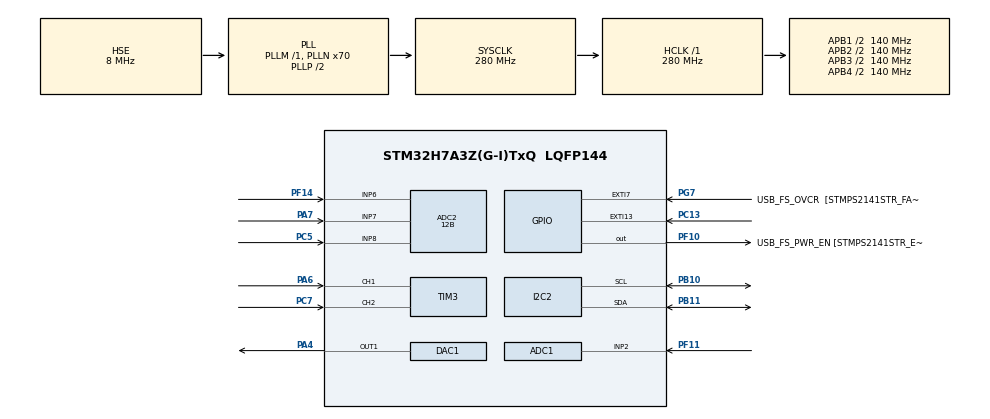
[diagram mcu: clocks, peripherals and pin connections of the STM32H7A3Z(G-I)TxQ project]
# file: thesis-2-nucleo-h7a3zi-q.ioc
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ADC1.Channel-1\#ChannelRegularConversion=ADC_CHANNEL_2
ADC1.ConversionDataManagement=ADC_CONVERSIONDATA_DMA_CIRCULAR
ADC1.ExternalTrigConv=ADC_EXTERNALTRIG_T6_TRGO
ADC1.NbrOfConversionFlag=1
ADC1.OffsetNumber-1\#ChannelRegularConversion=ADC_OFFSET_NONE
ADC1.OffsetSignedSaturation-1\#ChannelRegularConversion=DISABLE
ADC1.Rank-1\#ChannelRegularConversion=1
ADC1.Resolution=ADC_RESOLUTION_12B
ADC1.SamplingTime-1\#ChannelRegularConversion=ADC_SAMPLETIME_1CYCLE_5
ADC1.master=1
ADC2.Channel-0\#ChannelRegularConversion=ADC_CHANNEL_6
ADC2.Channel-1\#ChannelRegularConversion=ADC_CHANNEL_7
ADC2.Channel-2\#ChannelRegularConversion=ADC_CHANNEL_8
ADC2.ContinuousConvMode=DISABLE
ADC2.ConversionDataManagement=ADC_CONVERSIONDATA_DMA_CIRCULAR
ADC2.ExternalTrigConv=ADC_EXTERNALTRIG_T1_TRGO
ADC2.NbrOfConversion=3
ADC2.NbrOfConversionFlag=1
ADC2.OffsetNumber-0\#ChannelRegularConversion=ADC_OFFSET_NONE
ADC2.OffsetNumber-1\#ChannelRegularConversion=ADC_OFFSET_NONE
ADC2.OffsetNumber-2\#ChannelRegularConversion=ADC_OFFSET_NONE
ADC2.OffsetSignedSaturation-0\#ChannelRegularConversion=DISABLE
ADC2.Rank-0\#ChannelRegularConversion=1
ADC2.Rank-1\#ChannelRegularConversion=2
ADC2.Rank-2\#ChannelRegularConversion=3
ADC2.Resolution=ADC_RESOLUTION_12B
ADC2.SamplingTime-0\#ChannelRegularConversion=ADC_SAMPLETIME_1CYCLE_5
ADC2.SamplingTime-1\#ChannelRegularConversion=ADC_SAMPLETIME_1CYCLE_5
ADC2.SamplingTime-2\#ChannelRegularConversion=ADC_SAMPLETIME_1CYCLE_5
DAC1.DAC_Channel-DAC_OUT1=DAC_CHANNEL_1
DAC1.DAC_Trigger-DAC_OUT1=DAC_TRIGGER_T6_TRGO
Dma.ADC1.0.Direction=DMA_PERIPH_TO_MEMORY
Dma.ADC1.0.EventEnable=DISABLE
Dma.ADC1.0.FIFOMode=DMA_FIFOMODE_DISABLE
Dma.ADC1.0.Instance=DMA1_Stream0
Dma.ADC1.0.MemDataAlignment=DMA_MDATAALIGN_HALFWORD
Dma.ADC1.0.MemInc=DMA_MINC_ENABLE
Dma.ADC1.0.Mode=DMA_CIRCULAR
Dma.ADC1.0.PeriphDataAlignment=DMA_PDATAALIGN_HALFWORD
Dma.ADC1.0.PeriphInc=DMA_PINC_DISABLE
Dma.ADC1.0.Polarity=HAL_DMAMUX_REQ_GEN_RISING
Dma.ADC1.0.Priority=DMA_PRIORITY_HIGH
Dma.ADC1.0.RequestNumber=1
Dma.ADC1.0.SignalID=NONE
Dma.ADC1.0.SyncEnable=DISABLE
Dma.ADC1.0.SyncPolarity=HAL_DMAMUX_SYNC_NO_EVENT
Dma.ADC1.0.SyncRequestNumber=1
Dma.ADC1.0.SyncSignalID=NONE
Dma.ADC2.2.Direction=DMA_PERIPH_TO_MEMORY
Dma.ADC2.2.EventEnable=DISABLE
Dma.ADC2.2.FIFOMode=DMA_FIFOMODE_DISABLE
Dma.ADC2.2.Instance=DMA1_Stream2
Dma.ADC2.2.MemDataAlignment=DMA_MDATAALIGN_HALFWORD
Dma.ADC2.2.MemInc=DMA_MINC_ENABLE
Dma.ADC2.2.Mode=DMA_CIRCULAR
Dma.ADC2.2.PeriphDataAlignment=DMA_PDATAALIGN_HALFWORD
Dma.ADC2.2.PeriphInc=DMA_PINC_DISABLE
Dma.ADC2.2.Polarity=HAL_DMAMUX_REQ_GEN_RISING
Dma.ADC2.2.Priority=DMA_PRIORITY_LOW
Dma.ADC2.2.RequestNumber=1
Dma.ADC2.2.SignalID=NONE
Dma.ADC2.2.SyncEnable=DISABLE
Dma.ADC2.2.SyncPolarity=HAL_DMAMUX_SYNC_NO_EVENT
Dma.ADC2.2.SyncRequestNumber=1
Dma.ADC2.2.SyncSignalID=NONE
Dma.DAC1_CH1.1.Direction=DMA_MEMORY_TO_PERIPH
Dma.DAC1_CH1.1.EventEnable=DISABLE
Dma.DAC1_CH1.1.FIFOMode=DMA_FIFOMODE_DISABLE
Dma.DAC1_CH1.1.Instance=DMA1_Stream1
Dma.DAC1_CH1.1.MemDataAlignment=DMA_MDATAALIGN_HALFWORD
Dma.DAC1_CH1.1.MemInc=DMA_MINC_ENABLE
Dma.DAC1_CH1.1.Mode=DMA_CIRCULAR
Dma.DAC1_CH1.1.PeriphDataAlignment=DMA_PDATAALIGN_HALFWORD
Dma.DAC1_CH1.1.PeriphInc=DMA_PINC_DISABLE
Dma.DAC1_CH1.1.Polarity=HAL_DMAMUX_REQ_GEN_RISING
Dma.DAC1_CH1.1.Priority=DMA_PRIORITY_HIGH
Dma.DAC1_CH1.1.RequestNumber=1
Dma.DAC1_CH1.1.SignalID=NONE
Dma.DAC1_CH1.1.SyncEnable=DISABLE
Dma.DAC1_CH1.1.SyncPolarity=HAL_DMAMUX_SYNC_NO_EVENT
Dma.DAC1_CH1.1.SyncRequestNumber=1
Dma.DAC1_CH1.1.SyncSignalID=NONE
Dma.Request0=ADC1
Dma.Request1=DAC1_CH1
Dma.Request2=ADC2
I2C2.Timing=0x20B0CCFF
Mcu.Family=STM32H7
Mcu.Name=STM32H7A3Z(G-I)TxQ
Mcu.Package=LQFP144
NVIC.DMA1_Stream0_IRQn=true\:0\:0\:false\:false\:true\:false\:true\:true
NVIC.DMA1_Stream1_IRQn=true\:0\:0\:false\:false\:true\:false\:true\:true
NVIC.DMA1_Stream2_IRQn=true\:0\:0\:false\:false\:true\:false\:true\:true
NVIC.EXTI15_10_IRQn=true\:0\:0\:false\:false\:true\:true\:true\:true
NVIC.PriorityGroup=NVIC_PRIORITYGROUP_4
NVIC.TIM4_IRQn=true\:0\:0\:false\:false\:true\:true\:true\:true
PA10.GPIO_Label=USB_FS_ID [ZX62RD-AB-5P8_ID]
PA10.Signal=USB_OTG_HS_ID
PA11.GPIO_Label=USB_FS_N [USBLC6-2SC6_IO_1]
PA11.Signal=USB_OTG_HS_DM
PA12.GPIO_Label=USB_FS_P [USBLC6-2SC6_IO_2]
PA12.Signal=USB_OTG_HS_DP
PA4.Signal=COMP_DAC11_group
PA6.Signal=S_TIM3_CH1
PA7.Signal=ADCx_INP7
PA9.GPIO_Label=USB_FS_VBUS  [ZX62RD-AB-5P8_VBUS]
PA9.Signal=USB_OTG_HS_VBUS
PB10.Mode=I2C
PB10.Signal=I2C2_SCL
PB11.Mode=I2C
PB11.Signal=I2C2_SDA
PC13.Signal=GPXTI13
PC14-OSC32_IN.GPIO_Label=OSC32_IN
PC14-OSC32_IN.Mode=LSE-External-Oscillator
PC14-OSC32_IN.Signal=RCC_OSC32_IN
PC15-OSC32_OUT.GPIO_Label=OSC32_OUT
PC15-OSC32_OUT.Mode=LSE-External-Oscillator
PC15-OSC32_OUT.Signal=RCC_OSC32_OUT
PC5.Signal=ADCx_INP8
PC7.Signal=S_TIM3_CH2
PD8.GPIO_Label=STLINK_RX
PD8.Signal=USART3_TX
PD9.GPIO_Label=STLINK_TX
PD9.Signal=USART3_RX
PF10.GPIO_Label=USB_FS_PWR_EN [STMPS2141STR_EN]
PF10.Signal=GPIO_Output
PF11.Mode=IN2-Single-Ended
PF11.Signal=ADC1_INP2
PF14.Mode=IN6-Single-Ended
PF14.Signal=ADC2_INP6
PG7.GPIO_Label=USB_FS_OVCR  [STMPS2141STR_FAULT]
PG7.Signal=GPXTI7
PH0-OSC_IN.GPIO_Label=PH0-MCU
PH0-OSC_IN.Mode=HSE-External-Clock-Source
PH0-OSC_IN.Signal=RCC_OSC_IN
PH1-OSC_OUT.GPIO_Label=PH1-MCU
PH1-OSC_OUT.Signal=RCC_OSC_OUT
ProjectManager.HeapSize=0x200
ProjectManager.StackSize=0x400
ProjectManager.TargetToolchain=STM32CubeIDE
RCC.ADCFreq_Value=128000000
RCC.APB1Freq_Value=140000000
RCC.APB2Freq_Value=140000000
RCC.APB3Freq_Value=140000000
RCC.APB4Freq_Value=140000000
RCC.CDPPRE=RCC_APB3_DIV2
RCC.CDPPRE1=RCC_APB1_DIV2
RCC.CDPPRE2=RCC_APB2_DIV2
RCC.CortexFreq_Value=280000000
RCC.DIVM1=1
RCC.DIVM2=1
RCC.DIVM3=1
RCC.DIVN1=70
RCC.DIVN2=16
RCC.DIVN3=24
RCC.DIVP2=1
RCC.DIVQ1=4
RCC.HCLKFreq_Value=280000000
RCC.HSE_VALUE=8000000
RCC.PLL2FRACN=0
RCC.PLLFRACN=0
RCC.PLLSourceVirtual=RCC_PLLSOURCE_HSE
RCC.PWR_Regulator_Voltage_Scale=PWR_REGULATOR_VOLTAGE_SCALE0
RCC.SRDPPRE=RCC_APB4_DIV2
RCC.SYSCLKFreq_VALUE=280000000
RCC.SYSCLKSource=RCC_SYSCLKSOURCE_PLLCLK
RCC.SupplySource=PWR_DIRECT_SMPS_SUPPLY
RCC.USBCLockSelection=RCC_USBCLKSOURCE_HSI48
RCC.USBFreq_Value=48000000
SH.ADCx_INP7.0=ADC2_INP7,IN7-Single-Ended
SH.ADCx_INP8.0=ADC2_INP8,IN8-Single-Ended
SH.COMP_DAC11_group.0=DAC1_OUT1,DAC_OUT1
SH.S_TIM3_CH1.0=TIM3_CH1,Encoder_Interface
SH.S_TIM3_CH2.0=TIM3_CH2,Encoder_Interface
TIM1.Period=2800-1
TIM1.Prescaler=1000-1
TIM1.TIM_MasterOutputTrigger=TIM_TRGO_UPDATE
TIM3.EncoderMode=TIM_ENCODERMODE_TI12
TIM3.IC1Polarity=TIM_ICPOLARITY_FALLING
TIM3.IC2Polarity=TIM_ICPOLARITY_FALLING
TIM4.Prescaler=2500
TIM6.Period=2916-1
TIM6.TIM_MasterOutputTrigger=TIM_TRGO_UPDATE
VP_TIM1_VS_ClockSourceINT.Mode=Internal
VP_TIM4_VS_ClockSourceINT.Mode=Internal
VP_TIM6_VS_ClockSourceINT.Mode=Enable_Timer
board=NUCLEO-H7A3ZI-Q

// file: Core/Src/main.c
/* USER CODE BEGIN Header */
/**
  ******************************************************************************
  * @file           : main.c
  * @brief          : Main program body
  ******************************************************************************
  * @attention
  *
  * Copyright (c) 2022 STMicroelectronics.
  * All rights reserved.
  *
  * This software is licensed under terms that can be found in the LICENSE file
  * in the root directory of this software component.
  * If no LICENSE file comes with this software, it is provided AS-IS.
  *
  ******************************************************************************
  */
/* USER CODE END Header */
#include "main.h"
#include "adc.h"
#include "dac.h"
#include "dma.h"
#include "i2c.h"
#include "tim.h"
#include "gpio.h"

/* USER CODE BEGIN Includes */
#include <stdlib.h>
#include "DelayEffect.h"
#include "TremoloEffect.h"
#include "ChorusEffect.h"
#include <math.h>
#include "i2c-lcd.h"

/* USER CODE END Includes */

/* USER CODE BEGIN PD */
// data that user works with
#define DATA_SIZE 256

// the size of the entire buffer for both adc and dac
#define BUFFER_SIZE 512
#define SAMPLE_RATE 96021
#define PI 3.14159265359
/* USER CODE END PD */

/* USER CODE BEGIN PV */

// create ADC and DAC buffer
uint16_t adcData[BUFFER_SIZE];
uint16_t dacData[BUFFER_SIZE];
uint16_t adc2Data[3];

// pointers to the half buffer which should be processed
static volatile uint16_t* inBuffPtr;
static volatile uint16_t* outBuffPtr;

// data ready flag

uint8_t dataReady = 0;
uint8_t effectReady = 1;

/* USER CODE END PV */

void SystemClock_Config(void);
void PeriphCommonClock_Config(void);

/* USER CODE BEGIN 0 */

// when we enter this function, first half of the buffer is complete
// so we set the input buffer pointer at the beginning
void HAL_ADC_ConvHalfCpltCallback(ADC_HandleTypeDef *hadc)
{
	if(hadc == &hadc1) {
		inBuffPtr = &adcData[0];
		outBuffPtr = &dacData[0];

		dataReady = 1;
	}

}

// when we enter this function, first the second half of the buffer is complete
// so we set the input buffer pointer at the beginning
void HAL_ADC_ConvCpltCallback(ADC_HandleTypeDef *hadc)
{
	if(hadc == &hadc1) {
		inBuffPtr = &adcData[DATA_SIZE];
		outBuffPtr = &dacData[DATA_SIZE];

		dataReady = 1;
	}

}

enum Effect { CleanEf, DelayEf, SineEf, SquareEf, TriangleEf, ChorusEf };
uint8_t currentEffect =  CleanEf;
enum Direction { Left, Right };

const float INT16_TO_FLOAT = 1.0f / 32768.0f;

uint8_t Is_Tremolo() {
	return currentEffect == SineEf || currentEffect == SquareEf || currentEffect == TriangleEf;
}

void Init_Tremolo_Waveform() {
	if(currentEffect == SineEf) Tremolo_Set_Waveform(Sine);
	else if(currentEffect == SquareEf) Tremolo_Set_Waveform(Square);
	else if(currentEffect == TriangleEf) Tremolo_Set_Waveform(Triangle);
}

void processData()
{
	if(effectReady == 0) {
		return;
		HAL_Delay(100);
	}

	float volume = adc2Data[0]/4095.0f;
	float knob1 = adc2Data[1]/4095.0f;
	float knob2 = adc2Data[2]/4095.0f;

	if(currentEffect == CleanEf) {
		for(int i = 0; i < DATA_SIZE; i++) {
			 outBuffPtr[i] = (uint16_t) (volume * inBuffPtr[i]);
		}
	}
	else if(currentEffect == DelayEf) {
		Delay_Set_Params(knob1, knob2);
		for(int i = 0; i < DATA_SIZE; i++) {
			 outBuffPtr[i] = (uint16_t) (volume * Delay_Process(inBuffPtr[i]));
		}
	} else if(Is_Tremolo()) {
		Init_Tremolo_Waveform();

		static float in, out;
		for(int i = 0; i < DATA_SIZE; i++) {
			in = INT16_TO_FLOAT * inBuffPtr[i];
			out = Tremolo_Process(in, knob1, knob2) * 1.4f;
			outBuffPtr[i] =  (uint16_t) (volume * out * 32768.0f);
		}
	} else if(currentEffect == ChorusEf) {
		Chorus_Set_Params(knob1);
		static float in, out;
		for(int i = 0; i < DATA_SIZE; i++) {
			in = INT16_TO_FLOAT * inBuffPtr[i];
			out = in + Chorus_Process(in);
			outBuffPtr[i] = (uint16_t) (volume * out * 32768.0f);
		}
	}

	dataReady = 0;
}

void initEffect(uint8_t effect, uint8_t direction) {
	if(effect == ChorusEf && direction == Right) {
		Tremolo_Free();
		Chorus_Init(SAMPLE_RATE);
	} else if(effect == TriangleEf && direction == Left ) {
		Tremolo_Init(SAMPLE_RATE);
	} else if(effect == SineEf && direction == Right) {
		Delay_Free();
		Tremolo_Init(SAMPLE_RATE);
	} else if(effect == DelayEf && direction == Right) {
		Delay_Init(SAMPLE_RATE);
	} else if(effect == DelayEf && direction == Left) {
		Delay_Free();
		Delay_Init(SAMPLE_RATE);
	} else if(effect == CleanEf && direction == Left) {
		Delay_Free();
	}
}

void changeEffect(uint8_t direction) {
	if(currentEffect == ChorusEf && direction == Right) return;
	if(currentEffect == CleanEf && direction == Left) return;

	effectReady = 0;

	if(direction == Right) {
		currentEffect++;
	} else {
		currentEffect--;
	}

	initEffect(currentEffect, direction);
	effectReady = 1;
}

uint8_t MSG[50] = {'\0'};

void displayEffect(uint8_t effect) {
	lcd_clear();
//	lcd_put_cur(0,0);
//	sprintf(MSG, "%d\n\n\r", effect);
//	lcd_send_string(MSG);
	lcd_put_cur(1,0);
	if(effect == ChorusEf) {
		lcd_send_string("Chorus");
	} else if(effect == DelayEf) {
		lcd_send_string("Delay");
	} else if(effect == SineEf) {
		lcd_send_string("Tremolo: Sine");
	} else if(effect == TriangleEf) {
		lcd_send_string("Tremolo: Triangle");
	} else if(effect == SquareEf) {
		lcd_send_string("Tremolo: Square");
	} else if(effect == CleanEf) {
		lcd_send_string("Clean");
	}
}

int32_t counter = 0;
int32_t counterOld = 0;

uint8_t encoderDirection = -1;
uint8_t triggerChange = 0;

void HAL_TIM_PeriodElapsedCallback(TIM_HandleTypeDef *htim) {
	if(htim == &htim4) {
		uint16_t ctr = __HAL_TIM_GET_COUNTER(&htim3);

		if(counterOld > ctr) {
			encoderDirection = Left;
			triggerChange = 1;
		} else if (counterOld < ctr) {
			encoderDirection = Right;
			triggerChange = 1;
		} else {
			triggerChange = 0;
		}
		if(triggerChange) {
			changeEffect(encoderDirection);
			displayEffect(currentEffect);

			counterOld = ctr;
		}
	}
}

/* USER CODE END 0 */

int main(void)
{

  /* MCU Configuration--------------------------------------------------------*/

  /* Reset of all peripherals, Initializes the Flash interface and the Systick. */
  HAL_Init();

  /* Configure the system clock */
  SystemClock_Config();

/* Configure the peripherals common clocks */
  PeriphCommonClock_Config();

  /* Initialize all configured peripherals */
  MX_GPIO_Init();
  MX_DMA_Init();
  MX_ADC1_Init();
  MX_TIM6_Init();
  MX_DAC1_Init();
  MX_ADC2_Init();
  MX_TIM1_Init();
  MX_I2C2_Init();
  MX_TIM4_Init();
  MX_TIM3_Init();
  /* USER CODE BEGIN 2 */
  HAL_TIM_Base_Start(&htim1);
  HAL_TIM_Base_Start(&htim6);

  HAL_ADC_Start_DMA(&hadc1, (uint32_t *) adcData, BUFFER_SIZE);
  HAL_DAC_Start_DMA(&hdac1, DAC_CHANNEL_1, (uint32_t *) dacData, BUFFER_SIZE, DAC_ALIGN_12B_R);

//  Delay_Init(SAMPLE_RATE);
//  Chorus_Init(SAMPLE_RATE);
//  Tremolo_Init(SAMPLE_RATE);
//  Flanger_Init();
  HAL_ADC_Start_DMA(&hadc2, (uint32_t *) adc2Data, 3);

  lcd_init();
    lcd_send_string("Guitar Multi-FX");

    HAL_Delay(1000);

    lcd_put_cur(1,0);
    lcd_send_string("v1.0 [SSST 2022]");

    HAL_Delay(1000);

    HAL_TIM_Encoder_Start_IT(&htim3, TIM_CHANNEL_ALL);

    HAL_TIM_Base_Start_IT(&htim4);

    lcd_clear();
    displayEffect(currentEffect);

  /* USER CODE END 2 */

  /* Infinite loop */
  /* USER CODE BEGIN WHILE */
  while (1)
  {
	  if(dataReady) {
		  processData();
	  }
    /* USER CODE END WHILE */

  }
}

void SystemClock_Config(void)
{
  RCC_OscInitTypeDef RCC_OscInitStruct = {0};
  RCC_ClkInitTypeDef RCC_ClkInitStruct = {0};

  /** Supply configuration update enable
  */
  HAL_PWREx_ConfigSupply(PWR_DIRECT_SMPS_SUPPLY);

  /** Configure the main internal regulator output voltage
  */
  __HAL_PWR_VOLTAGESCALING_CONFIG(PWR_REGULATOR_VOLTAGE_SCALE0);

  while(!__HAL_PWR_GET_FLAG(PWR_FLAG_VOSRDY)) {}

  /** Macro to configure the PLL clock source
  */
  __HAL_RCC_PLL_PLLSOURCE_CONFIG(RCC_PLLSOURCE_HSE);

  /** Initializes the RCC Oscillators according to the specified parameters
  * in the RCC_OscInitTypeDef structure.
  */
  RCC_OscInitStruct.OscillatorType = RCC_OSCILLATORTYPE_LSI|RCC_OSCILLATORTYPE_HSE;
  RCC_OscInitStruct.HSEState = RCC_HSE_BYPASS;
  RCC_OscInitStruct.LSIState = RCC_LSI_ON;
  RCC_OscInitStruct.PLL.PLLState = RCC_PLL_ON;
  RCC_OscInitStruct.PLL.PLLSource = RCC_PLLSOURCE_HSE;
  RCC_OscInitStruct.PLL.PLLM = 1;
  RCC_OscInitStruct.PLL.PLLN = 70;
  RCC_OscInitStruct.PLL.PLLP = 2;
  RCC_OscInitStruct.PLL.PLLQ = 4;
  RCC_OscInitStruct.PLL.PLLR = 2;
  RCC_OscInitStruct.PLL.PLLRGE = RCC_PLL1VCIRANGE_3;
  RCC_OscInitStruct.PLL.PLLVCOSEL = RCC_PLL1VCOWIDE;
  RCC_OscInitStruct.PLL.PLLFRACN = 0;
  if (HAL_RCC_OscConfig(&RCC_OscInitStruct) != HAL_OK)
  {
    Error_Handler();
  }

  /** Initializes the CPU, AHB and APB buses clocks
  */
  RCC_ClkInitStruct.ClockType = RCC_CLOCKTYPE_HCLK|RCC_CLOCKTYPE_SYSCLK
                              |RCC_CLOCKTYPE_PCLK1|RCC_CLOCKTYPE_PCLK2
                              |RCC_CLOCKTYPE_D3PCLK1|RCC_CLOCKTYPE_D1PCLK1;
  RCC_ClkInitStruct.SYSCLKSource = RCC_SYSCLKSOURCE_PLLCLK;
  RCC_ClkInitStruct.SYSCLKDivider = RCC_SYSCLK_DIV1;
  RCC_ClkInitStruct.AHBCLKDivider = RCC_HCLK_DIV1;
  RCC_ClkInitStruct.APB3CLKDivider = RCC_APB3_DIV2;
  RCC_ClkInitStruct.APB1CLKDivider = RCC_APB1_DIV2;
  RCC_ClkInitStruct.APB2CLKDivider = RCC_APB2_DIV2;
  RCC_ClkInitStruct.APB4CLKDivider = RCC_APB4_DIV2;

  if (HAL_RCC_ClockConfig(&RCC_ClkInitStruct, FLASH_LATENCY_7) != HAL_OK)
  {
    Error_Handler();
  }
}

void PeriphCommonClock_Config(void)
{
  RCC_PeriphCLKInitTypeDef PeriphClkInitStruct = {0};

  /** Initializes the peripherals clock
  */
  PeriphClkInitStruct.PeriphClockSelection = RCC_PERIPHCLK_ADC;
  PeriphClkInitStruct.PLL2.PLL2M = 1;
  PeriphClkInitStruct.PLL2.PLL2N = 16;
  PeriphClkInitStruct.PLL2.PLL2P = 1;
  PeriphClkInitStruct.PLL2.PLL2Q = 2;
  PeriphClkInitStruct.PLL2.PLL2R = 2;
  PeriphClkInitStruct.PLL2.PLL2RGE = RCC_PLL2VCIRANGE_3;
  PeriphClkInitStruct.PLL2.PLL2VCOSEL = RCC_PLL2VCOWIDE;
  PeriphClkInitStruct.PLL2.PLL2FRACN = 0;
  PeriphClkInitStruct.AdcClockSelection = RCC_ADCCLKSOURCE_PLL2;
  if (HAL_RCCEx_PeriphCLKConfig(&PeriphClkInitStruct) != HAL_OK)
  {
    Error_Handler();
  }
}

/* USER CODE BEGIN 4 */

void HAL_GPIO_EXTI_Callback(uint16_t GPIO_Pin) {
	if(GPIO_Pin == GPIO_PIN_13) {
		effectReady = 0;

		if(currentEffect == ChorusEf) {
			currentEffect = 0;
			Chorus_Free();
		} else if(currentEffect == DelayEf) {
			Delay_Free();
		} else if(currentEffect == 4) {
			Tremolo_Free();
		}

		currentEffect++;

		if(currentEffect == ChorusEf) {
			Chorus_Init(SAMPLE_RATE);
		}
		else if(currentEffect == DelayEf) {
			Delay_Init(SAMPLE_RATE);
		} else if(Is_Tremolo()) {
			Tremolo_Init(SAMPLE_RATE);
		}

		effectReady = 1;
	} else {
		__NOP();
	}
}

/* USER CODE END 4 */

void Error_Handler(void)
{
  __disable_irq();
  while (1)
  {
  }
}
